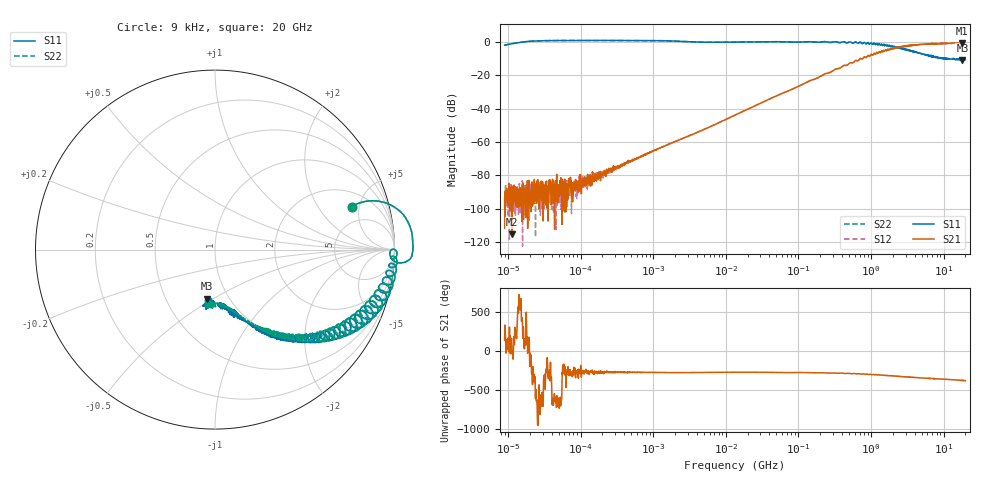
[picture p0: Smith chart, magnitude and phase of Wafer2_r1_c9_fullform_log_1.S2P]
!  2-Port S-parameters saved by WinCal
! VAR MeasName=S-Parameters (CALIBRATED_DATA) read from VNA (P5004A)
! VAR MeasDate=26/04/2024 19:07:24
! VAR NAME=Wafer2_r1_c9_fullform_log
! VAR FILENAME=Wafer2_r1_c9_fullform_log_1.S2P
! VAR DATE=26/04/2024 19:07:24
! VAR PHYS_PORTS=1,2
! VAR ObjTypeName=DATASET
! VAR IndexType=Frequency
# Hz S MA R 50
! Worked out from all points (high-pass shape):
!   2000 points, 9 kHz to 20 GHz, reference 50 ohm
!   highest |S21| = -0.61 dB at 18.05 GHz (marker M1); lowest = -115.4 dB at 11.29 kHz (marker M2)
!   |S21| within 3 dB of the highest: 2.252 GHz to 2.329 GHz (77.12 MHz wide, 3.37 % of centre); 2.333 GHz to end of sweep (the widest 2 of 4)
!   lowest |S11| = -11.1 dB at 18.19 GHz (marker M3), VSWR 1.77, Z = 39.6 - j23.5 ohm
!   |S11| at or under -10 dB: 11.47 GHz to 13.2 GHz (1.731 GHz wide, 14 % of centre); 14.01 GHz to 17.11 GHz (3.1 GHz wide, 19.9 % of centre); 19.16 GHz to 19.84 GHz (679.7 MHz wide, 3.49 % of centre) (the widest 3 of 16)
!   |S22| runs from -10.8 to 0.9 dB; largest |S21 - S12| = 0.036
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9000  0.7977 17.3  2.143e-05 140.4  1.12e-05 27.3  0.7978 17.3
11289.3  0.8814 17.8  1.693e-06 70.4  1.656e-05 23.4  0.8813 17.8
18424.29  1.026 13.4  3.07e-05 -178.4  5.498e-05 112.9  1.026 13.4
27543.22  1.08 9.0  2.269e-05 -91.1  5.074e-05 -86.6  1.08 9.0
103439.5  1.102 2.1  5.223e-05 90.8  4.255e-05 81.2  1.102 2.1
208681.7  1.103 0.8  0.0001235 70.0  0.0001062 98.7  1.103 0.8
1180198  1.09 -2.6  0.0006267 86.3  0.0006331 87.0  1.09 -2.6
4530556  0.9807 -2.6  0.002132 86.6  0.002153 86.6  0.9807 -2.6
1.346554e7  0.9859 0.1  0.006389 89.3  0.006416 88.7  0.9861 0.1
1.105652e8  0.9951 -2.2  0.05128 86.5  0.0516 86.1  0.9948 -2.2
1.536358e8  1 -5.7  0.0719 82.7  0.07119 82.8  1.001 -5.6
2.966476e8  0.9822 -6.8  0.1335 81.3  0.1348 81.2  0.982 -6.8
7.506948e8  0.8958 -21.3  0.3044 66.2  0.3037 66.4  0.8975 -21.0
1.043128e9  0.8523 -28.4  0.3975 58.7  0.3978 58.8  0.8539 -28.1
1.752917e9  0.7406 -38.3  0.5668 47.9  0.5697 47.8  0.7399 -37.9
2.945676e9  0.5952 -51.6  0.7338 32.8  0.7403 32.9  0.5973 -51.2
5.646226e9  0.4149 -68.5  0.8559 14.3  0.8607 14.0  0.4128 -67.6
9.488158e9  0.3266 -82.4  0.8978 0.9  0.8881 0.7  0.3252 -78.0
1.347662e10  0.3178 -89.2  0.9298 -6.6  0.9257 -7.4  0.3021 -87.1
1.805428e10  0.3331 -98.7  0.9318 -15.3  0.9059 -16.8  0.2885 -92.9
1.818676e10  0.2777 -99.2  0.8887 -16.8  0.8774 -14.7  0.3178 -91.9
2e10  0.2885 -98.0  0.8917 -18.6  0.9045 -18.0  0.3037 -97.5
